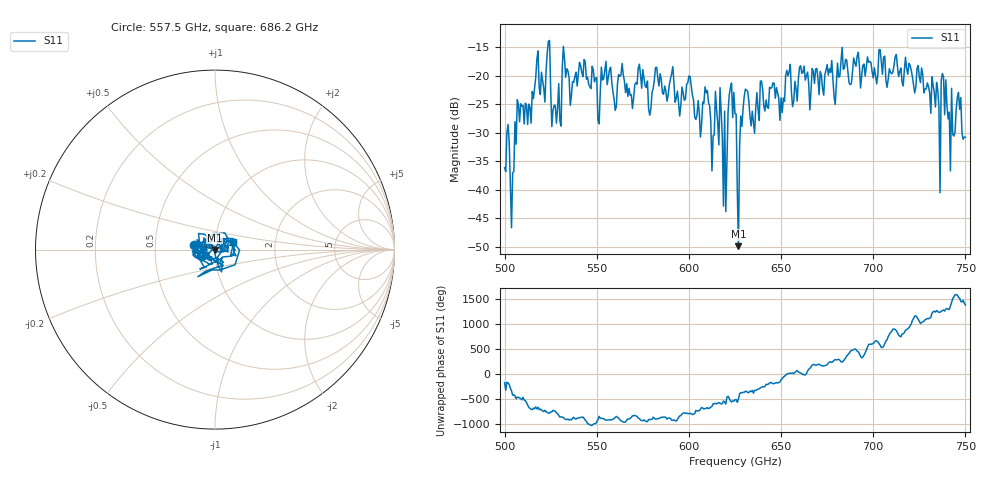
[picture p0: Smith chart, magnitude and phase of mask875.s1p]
!Created with skrf (http://scikit-rf.org).
# GHz S MA R 50.0
!freq magS11 angS11
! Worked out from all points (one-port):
!   401 points, 500 GHz to 750 GHz, reference 50 ohm
!   lowest |S11| = -49.9 dB at 626.9 GHz (marker M1), VSWR 1.01, Z = 49.8 - j0.238 ohm
!   |S11| at or under -10 dB: start of sweep to end of sweep
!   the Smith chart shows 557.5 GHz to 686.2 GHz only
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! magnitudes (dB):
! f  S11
! 500 GHz  -36.1
! 503.8 GHz  -46.6
! 508.1 GHz  -28.0
! 513.1 GHz  -24.9
! 517.5 GHz  -17.1
! 523.8 GHz  -13.9
! 526.9 GHz  -25.2
! 531.2 GHz  -18.8
! 560 GHz  -26.0
! 562.5 GHz  -20.1
! 593.8 GHz  -22.7
! 610 GHz  -22.5
! 612.5 GHz  -36.7
! 616.2 GHz  -32.1
! 619.4 GHz  -26.2
! 622.5 GHz  -22.1
! 625 GHz  -26.6
! 626.9 GHz  -49.9
! 630.6 GHz  -22.3
! 634.4 GHz  -26.2
! 656.2 GHz  -25.4
! 687.5 GHz  -21.5
! 718.8 GHz  -19.7
! 735 GHz  -22.5
! 738.1 GHz  -20.1
! 743.1 GHz  -30.2
! 746.2 GHz  -22.9
! 750 GHz  -30.8
